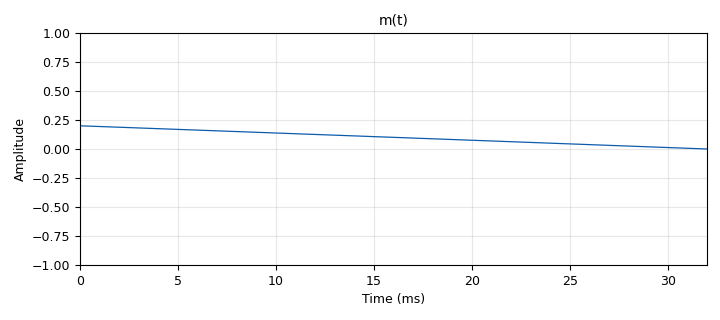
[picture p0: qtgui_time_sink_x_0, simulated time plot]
<?xml version='1.0' encoding='utf-8'?>
<?grc format='1' created='3.7.13'?>
<flow_graph>
<block>
<key>options</key>
<param><key>id</key><value>top_block</value></param>
<param><key>generate_options</key><value>qt_gui</value></param>
</block>
<block>
<key>variable_function_probe</key>
<param><key>id</key><value>cos_frec</value></param>
<param><key>block_id</key><value>probe</value></param>
<param><key>function_name</key><value>level</value></param>
<param><key>value</key><value>0</value></param>
<param><key>poll_rate</key><value>samp_rate*40000</value></param>
</block>
<block>
<key>variable</key>
<param><key>id</key><value>samp_rate</value></param>
<param><key>value</key><value>32000</value></param>
</block>
<block>
<key>analog_sig_source_x</key>
<param><key>id</key><value>analog_sig_source_x_0</value></param>
<param><key>amp</key><value>1</value></param>
<param><key>freq</key><value>1</value></param>
<param><key>offset</key><value>0</value></param>
<param><key>type</key><value>float</value></param>
<param><key>samp_rate</key><value>samp_rate</value></param>
<param><key>waveform</key><value>analog.GR_COS_WAVE</value></param>
</block>
<block>
<key>analog_sig_source_x</key>
<param><key>id</key><value>analog_sig_source_x_0_0</value></param>
<param><key>amp</key><value>1</value></param>
<param><key>_enabled</key><value>0</value></param>
<param><key>freq</key><value>cos_frec*100</value></param>
<param><key>offset</key><value>0</value></param>
<param><key>type</key><value>float</value></param>
<param><key>samp_rate</key><value>samp_rate</value></param>
<param><key>waveform</key><value>analog.GR_COS_WAVE</value></param>
</block>
<block>
<key>blocks_throttle</key>
<param><key>id</key><value>blocks_throttle_0</value></param>
<param><key>samples_per_second</key><value>samp_rate</value></param>
<param><key>type</key><value>float</value></param>
</block>
<block>
<key>blocks_throttle</key>
<param><key>id</key><value>blocks_throttle_0_0</value></param>
<param><key>_enabled</key><value>0</value></param>
<param><key>samples_per_second</key><value>samp_rate</value></param>
<param><key>type</key><value>float</value></param>
</block>
<block>
<key>blocks_vector_source_x</key>
<param><key>id</key><value>blocks_vector_source_x_0</value></param>
<param><key>_enabled</key><value>0</value></param>
<param><key>type</key><value>float</value></param>
<param><key>repeat</key><value>True</value></param>
<param><key>vector</key><value>(cos_frec)</value></param>
</block>
<block>
<key>blocks_vector_source_x</key>
<param><key>id</key><value>blocks_vector_source_x_1</value></param>
<param><key>type</key><value>float</value></param>
<param><key>repeat</key><value>True</value></param>
<param><key>vector</key><value>(1,1,1,1)</value></param>
</block>
<block>
<key>interp_fir_filter_xxx</key>
<param><key>id</key><value>interp_fir_filter_xxx_0</value></param>
<param><key>interp</key><value>1</value></param>
<param><key>taps</key><value>cos_frec</value></param>
<param><key>type</key><value>fff</value></param>
</block>
<block>
<key>blocks_probe_signal_x</key>
<param><key>id</key><value>probe</value></param>
<param><key>type</key><value>float</value></param>
</block>
<block>
<key>qtgui_time_sink_x</key>
<param><key>id</key><value>qtgui_time_sink_x_0</value></param>
<param><key>color1</key><value>"blue"</value></param>
<param><key>label1</key><value></value></param>
<param><key>name</key><value>m(t)</value></param>
<param><key>size</key><value>1024</value></param>
<param><key>srate</key><value>samp_rate</value></param>
<param><key>type</key><value>float</value></param>
</block>
<block>
<key>qtgui_time_sink_x</key>
<param><key>id</key><value>qtgui_time_sink_x_0_0</value></param>
<param><key>ctrlpanel</key><value>True</value></param>
<param><key>color1</key><value>"blue"</value></param>
<param><key>label1</key><value></value></param>
<param><key>name</key><value>FM</value></param>
<param><key>size</key><value>1024</value></param>
<param><key>srate</key><value>samp_rate</value></param>
<param><key>type</key><value>float</value></param>
</block>
<block>
<key>virtual_sink</key>
<param><key>id</key><value>vs</value></param>
</block>
<connection><source_block_id>analog_sig_source_x_0</source_block_id><sink_block_id>blocks_throttle_0</sink_block_id><source_key>0</source_key><sink_key>0</sink_key></connection>
<connection><source_block_id>analog_sig_source_x_0</source_block_id><sink_block_id>probe</sink_block_id><source_key>0</source_key><sink_key>0</sink_key></connection>
<connection><source_block_id>analog_sig_source_x_0_0</source_block_id><sink_block_id>blocks_throttle_0_0</sink_block_id><source_key>0</source_key><sink_key>0</sink_key></connection>
<connection><source_block_id>blocks_throttle_0</source_block_id><sink_block_id>qtgui_time_sink_x_0</sink_block_id><source_key>0</source_key><sink_key>0</sink_key></connection>
<connection><source_block_id>blocks_throttle_0</source_block_id><sink_block_id>vs</sink_block_id><source_key>0</source_key><sink_key>0</sink_key></connection>
<connection><source_block_id>blocks_throttle_0_0</source_block_id><sink_block_id>qtgui_time_sink_x_0_0</sink_block_id><source_key>0</source_key><sink_key>0</sink_key></connection>
<connection><source_block_id>blocks_vector_source_x_0</source_block_id><sink_block_id>qtgui_time_sink_x_0_0</sink_block_id><source_key>0</source_key><sink_key>0</sink_key></connection>
<connection><source_block_id>blocks_vector_source_x_1</source_block_id><sink_block_id>interp_fir_filter_xxx_0</sink_block_id><source_key>0</source_key><sink_key>0</sink_key></connection>
<connection><source_block_id>interp_fir_filter_xxx_0</source_block_id><sink_block_id>qtgui_time_sink_x_0_0</sink_block_id><source_key>0</source_key><sink_key>0</sink_key></connection>
</flow_graph>
